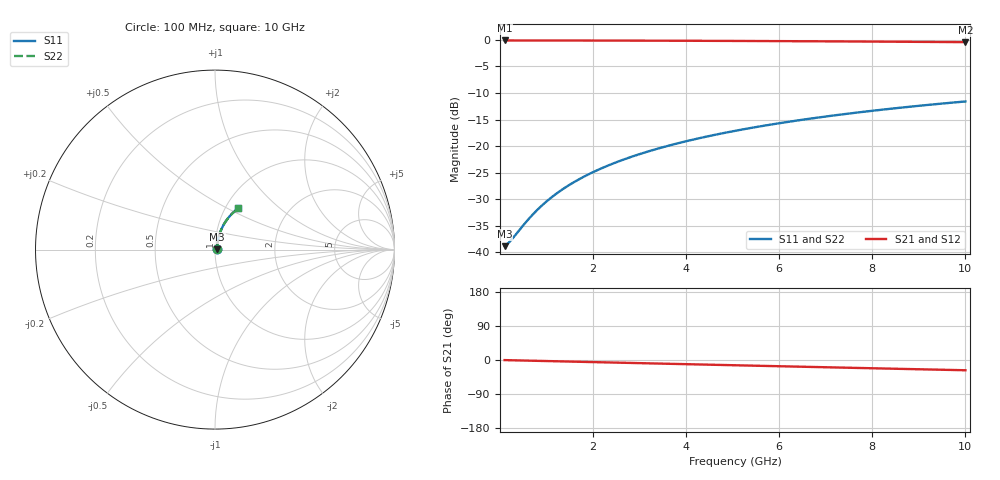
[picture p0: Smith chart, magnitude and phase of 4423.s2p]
# Hz S RI R 50.00
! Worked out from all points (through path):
!   100 points, 100 MHz to 10 GHz, reference 50 ohm
!   highest |S21| = -0.10 dB at 100 MHz (marker M1); lowest = -0.4 dB at 10 GHz (marker M2)
!   group delay of S21, straight-line fit = 7.52 ps
!   lowest |S11| = -38.8 dB at 100 MHz (marker M3), VSWR 1.02, Z = 51.1 + j0.28 ohm
!   |S11| at or under -10 dB: start of sweep to end of sweep
!   |S22| runs from -38.8 to -11.6 dB; largest |S21 - S12| = 0
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1e8  0.0111 0.00274  0.9889 -0.00477  0.9889 -0.00477  0.0111 0.00274
2e8  0.0112 0.00548  0.9888 -0.00953  0.9888 -0.00953  0.0112 0.00548
3e8  0.0113 0.00822  0.9886 -0.0143  0.9886 -0.0143  0.0113 0.00822
5e8  0.0116 0.0137  0.9883 -0.0238  0.9883 -0.0238  0.0116 0.0137
7e8  0.012 0.0192  0.9879 -0.0333  0.9879 -0.0333  0.012 0.0192
8e8  0.0122 0.0219  0.9876 -0.0381  0.9876 -0.0381  0.0122 0.0219
1e9  0.0127 0.0273  0.987 -0.0476  0.987 -0.0476  0.0127 0.0273
1.2e9  0.0134 0.0328  0.9863 -0.0571  0.9863 -0.0571  0.0134 0.0328
1.4e9  0.0141 0.0382  0.9855 -0.0666  0.9855 -0.0666  0.0141 0.0382
1.6e9  0.0149 0.0436  0.9845 -0.076  0.9845 -0.076  0.0149 0.0436
1.8e9  0.0158 0.049  0.9835 -0.0855  0.9835 -0.0855  0.0158 0.049
2.1e9  0.0174 0.057  0.9816 -0.0996  0.9816 -0.0996  0.0174 0.057
2.5e9  0.0199 0.0676  0.9788 -0.1183  0.9788 -0.1183  0.0199 0.0676
2.9e9  0.0227 0.0782  0.9755 -0.137  0.9755 -0.137  0.0227 0.0782
3.4e9  0.0268 0.0911  0.9707 -0.1601  0.9707 -0.1601  0.0268 0.0911
4.2e9  0.0347 0.1113  0.9616 -0.1966  0.9616 -0.1966  0.0347 0.1113
5.1e9  0.0452 0.1332  0.9493 -0.2367  0.9493 -0.2367  0.0452 0.1332
5.9e9  0.0561 0.1517  0.9365 -0.2716  0.9365 -0.2716  0.0561 0.1517
6.7e9  0.0683 0.1692  0.9222 -0.3054  0.9222 -0.3054  0.0683 0.1692
7.5e9  0.0816 0.1856  0.9065 -0.3382  0.9065 -0.3382  0.0816 0.1856
8.4e9  0.0979 0.2027  0.8871 -0.3738  0.8871 -0.3738  0.0979 0.2027
1e10  0.1298 0.2293  0.8489 -0.4333  0.8489 -0.4333  0.1298 0.2293
